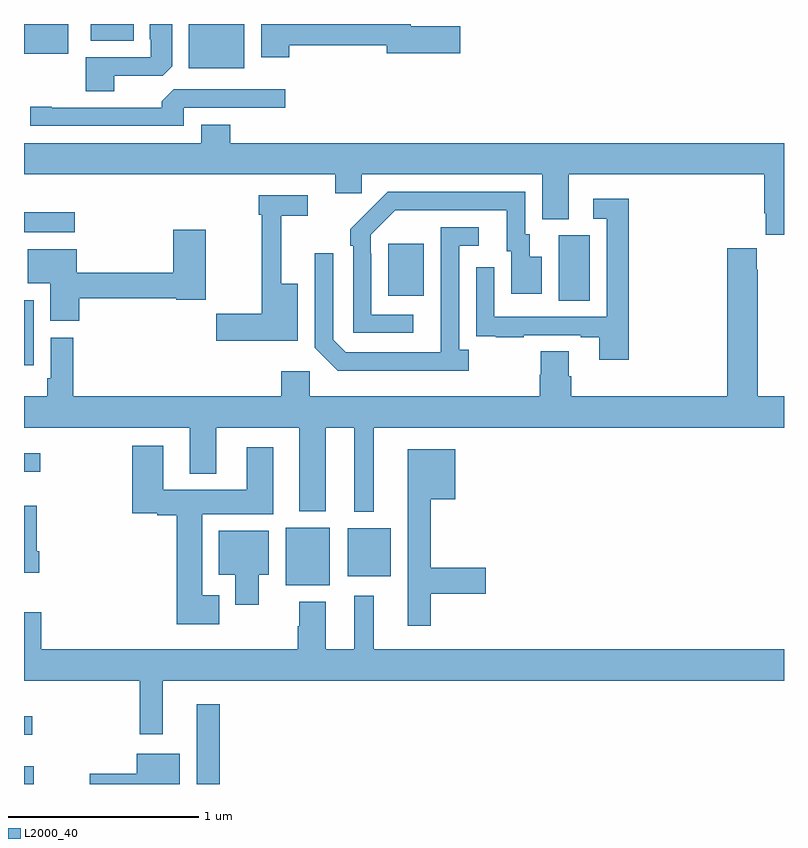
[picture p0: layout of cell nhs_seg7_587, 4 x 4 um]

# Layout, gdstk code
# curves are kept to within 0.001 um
import gdstk
lib = gdstk.Library(unit=1e-6, precision=1e-09)
def R(c, l, rs):  # rectangles x0, y0, x1, y1
    for r in rs: c.add(gdstk.rectangle(r[:2], r[2:], *l))
def P(c, l, *ps):  # polygons
    for p in ps: c.add(gdstk.Polygon(p, *l))
L2000_40 = (2000, 40)

nhs_seg7_587 = lib.new_cell('nhs_seg7_587')
R(nhs_seg7_587, L2000_40, [(155,1072,155.05,1072.093), (155.909,1072,156.031,1072.42), (155,1072.26,155.044,1072.356), (156.377,1073.045,156.61,1073.35), (156.704,1073.093,156.931,1073.347), (155,1073.643,155.086,1073.74), (155,1074.204,155.05,1074.546), (157.814,1074.544,157.978,1074.888), (156.917,1074.569,157.105,1074.844), (155,1074.905,155.266,1075.009), (155.867,1075.766,156.16,1076), (155,1075.844,155.233,1076), (155.351,1075.913,155.578,1076)])
P(nhs_seg7_587, L2000_40, [(156.395,1075.888),(156.908,1075.888),(156.908,1075.846),(157.297,1075.846),(157.297,1075.988),(157.036,1075.988),(157.036,1076),(156.248,1076),(156.248,1075.824),(156.395,1075.824)],
  [(155.476,1075.728),(155.73,1075.728),(155.779,1075.777),(155.779,1076),(155.663,1076),(155.663,1075.921),(155.667,1075.921),(155.667,1075.824),(155.324,1075.824),(155.324,1075.645),(155.476,1075.645)],
  [(155.841,1075.56),(156.376,1075.56),(156.376,1075.656),(155.787,1075.656),(155.726,1075.594),(155.726,1075.56),(155.146,1075.56),(155.146,1075.565),(155.034,1075.565),(155.034,1075.464),(155.841,1075.464)],
  [(159,1075.372),(156.086,1075.372),(156.086,1075.471),(155.933,1075.471),(155.933,1075.372),(155,1075.372),(155,1075.208),(156.638,1075.208),(156.638,1075.11),(156.777,1075.11),(156.777,1075.208),(157.727,1075.208),(157.727,1074.973),(157.867,1074.973),(157.867,1075.208),(158.897,1075.208),(158.897,1075.003),(158.903,1075.003),(158.903,1074.891),(159,1074.891)],
  [(157.048,1074.471),(156.828,1074.471),(156.828,1074.791),(156.825,1074.791),(156.825,1074.891),(156.954,1075.02),(157.541,1075.02),(157.541,1074.804),(157.565,1074.804),(157.565,1074.579),(157.726,1074.579),(157.726,1074.775),(157.663,1074.775),(157.663,1074.894),(157.638,1074.894),(157.638,1075.116),(156.914,1075.116),(156.717,1074.921),(156.717,1074.833),(156.732,1074.833),(156.732,1074.375),(157.048,1074.375)],
  [(156.442,1074.634),(156.353,1074.634),(156.353,1074.99),(156.493,1074.99),(156.493,1075.098),(156.235,1075.098),(156.235,1074.995),(156.25,1074.995),(156.25,1074.476),(156.012,1074.476),(156.012,1074.334),(156.442,1074.334)],
  [(158.183,1075.081),(157.995,1075.081),(157.995,1074.975),(158.067,1074.975),(158.067,1074.459),(157.476,1074.459),(157.476,1074.721),(157.38,1074.721),(157.38,1074.466),(157.381,1074.466),(157.381,1074.357),(157.483,1074.357),(157.483,1074.351),(157.631,1074.351),(157.631,1074.363),(157.931,1074.363),(157.931,1074.351),(158.027,1074.351),(158.027,1074.234),(158.183,1074.234)],
  [(157.342,1074.286),(157.29,1074.286),(157.29,1074.834),(157.393,1074.834),(157.393,1074.93),(157.194,1074.93),(157.193,1074.273),(156.693,1074.273),(156.627,1074.339),(156.627,1074.793),(156.531,1074.793),(156.531,1074.297),(156.652,1074.176),(157.342,1074.176)],
  [(155.291,1074.556),(155.802,1074.556),(155.802,1074.548),(155.956,1074.548),(155.956,1074.916),(155.786,1074.916),(155.786,1074.692),(155.278,1074.692),(155.278,1074.814),(155.021,1074.814),(155.021,1074.635),(155.138,1074.635),(155.138,1074.438),(155.291,1074.438)],
  [(156.841,1073.876),(159,1073.876),(159,1074.04),(158.862,1074.04),(158.862,1074.707),(158.857,1074.707),(158.857,1074.82),(158.702,1074.82),(158.702,1074.04),(157.88,1074.04),(157.88,1074.146),(157.867,1074.146),(157.867,1074.278),(157.72,1074.278),(157.72,1074.153),(157.715,1074.153),(157.715,1074.04),(156.504,1074.04),(156.504,1074.172),(156.353,1074.172),(156.353,1074.04),(155.258,1074.04),(155.258,1074.349),(155.142,1074.349),(155.142,1074.136),(155.122,1074.136),(155.122,1074.04),(155,1074.04),(155,1073.876),(155.873,1073.876),(155.873,1073.633),(156.013,1073.633),(156.013,1073.876),(156.449,1073.876),(156.449,1073.435),(156.589,1073.435),(156.589,1073.876),(156.737,1073.876),(156.737,1073.432),(156.841,1073.432)],
  [(156.028,1072.993),(155.938,1072.993),(155.938,1073.42),(156.313,1073.42),(156.313,1073.773),(156.173,1073.773),(156.173,1073.548),(155.734,1073.548),(155.734,1073.779),(155.569,1073.779),(155.569,1073.426),(155.7,1073.426),(155.7,1073.414),(155.804,1073.414),(155.804,1072.841),(156.028,1072.841)],
  [(157.141,1073.002),(157.429,1073.002),(157.429,1073.139),(157.141,1073.139),(157.141,1073.498),(157.27,1073.498),(157.27,1073.761),(157.019,1073.761),(157.019,1072.833),(157.141,1072.833)],
  [(155.081,1073.224),(155.068,1073.224),(155.068,1073.464),(155,1073.464),(155,1073.112),(155.081,1073.112)],
  [(156.235,1073.102),(156.289,1073.102),(156.289,1073.332),(156.026,1073.332),(156.026,1073.102),(156.113,1073.102),(156.113,1072.944),(156.235,1072.944)],
  [(155.731,1072.544),(159,1072.544),(159,1072.708),(156.841,1072.708),(156.841,1072.99),(156.737,1072.99),(156.737,1072.708),(156.589,1072.708),(156.589,1072.96),(156.449,1072.96),(156.449,1072.829),(156.442,1072.829),(156.442,1072.708),(155.09,1072.708),(155.09,1072.903),(155,1072.903),(155,1072.544),(155.61,1072.544),(155.61,1072.263),(155.731,1072.263)],
  [(155.821,1072.159),(155.594,1072.159),(155.594,1072.053),(155.346,1072.053),(155.346,1072),(155.821,1072)])

lib.write_gds('nhs_seg7_587.gds')
